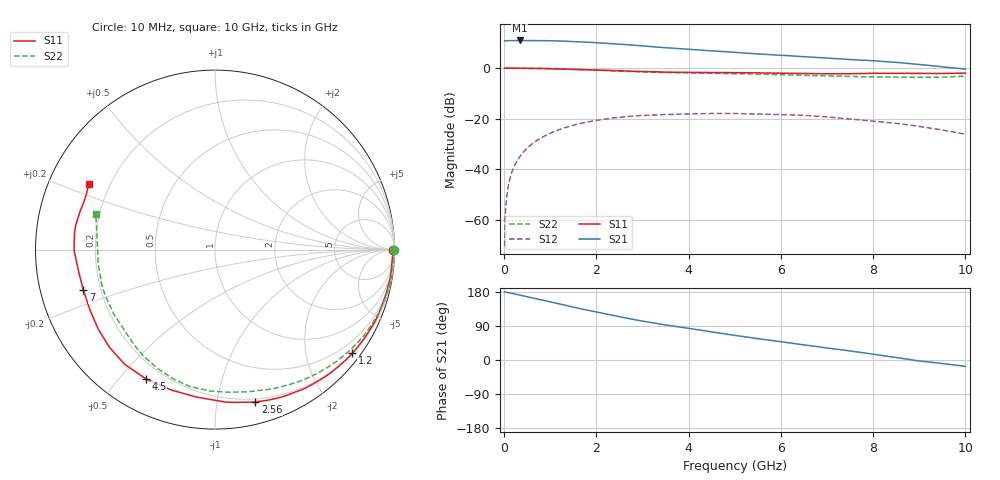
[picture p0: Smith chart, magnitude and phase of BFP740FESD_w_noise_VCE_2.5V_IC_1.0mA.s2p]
! Infineon Technologies  Discrete & RF Semiconductors
! BFP740FESD
! VCE =  2.5 V,  IC =  1.0 mA
! Common Emitter S-Parameters:  Jan 2016
# GHz  S  MA  R  50
!  f  S11  S21  S12  S22
! GHz  MAG  ANG  MAG  ANG  MAG  ANG  MAG  ANG
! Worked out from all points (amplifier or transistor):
!   233 points, 10 MHz to 10 GHz, reference 50 ohm
!   highest |S21| = 10.9 dB at 340 MHz (marker M1)
!   |S21| within 3 dB of that: start of sweep to 3.593 GHz
!   unconditionally stable (mu >= 1): 8.856 GHz to end of sweep
!   at 200 MHz: K = -0.01, MSG = 25.3 dB, |S12| = -39.7 dB
!   at 1.74 GHz: K = 0.09, MSG = 15.9 dB, |S12| = -21.6 dB
!   at 10 GHz: K = 1.66, MAG = 8.1 dB, |S12| = -26.2 dB
!   lowest NFmin = 0.46 dB at 450 MHz
!   S11 on the Smith chart (normalised r, x): 10 MHz: open; 1.2 GHz: 0.21, -2.98; 2.56 GHz: 0.17, -1.29; 4.5 GHz: 0.14, -0.59; 7 GHz: 0.13, -0.15; 10 GHz: 0.12, +0.24
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0.01  0.9934 -0.2  3.464 179.6  0.0003 52.8  0.9983 0.0
0.015  0.9922 -0.3  3.451 179.7  0.0007 82.3  0.999 -0.3
0.02  0.9911 -0.5  3.438 179.8  0.0011 90.0  0.9997 -0.5
0.03  0.9911 -0.8  3.44 179.4  0.0016 89.6  0.9997 -0.7
0.09  0.9895 -2.8  3.466 178.0  0.0047 87.1  0.9995 -2.1
0.18  0.9887 -5.5  3.488 175.6  0.0094 85.9  0.9989 -4.2
0.34  0.9872 -10.5  3.5 171.3  0.0177 82.3  0.9966 -7.9
0.7  0.9789 -21.6  3.495 161.5  0.0363 73.8  0.9866 -16.1
1.2  0.9587 -37.0  3.416 147.9  0.0609 61.6  0.9623 -27.9
1.68  0.932 -51.2  3.279 134.7  0.0809 49.7  0.9294 -39.3
2.18  0.9031 -65.0  3.087 122.0  0.0974 38.4  0.8933 -50.7
2.56  0.8775 -75.1  2.933 112.8  0.1073 30.1  0.8652 -59.2
3  0.8511 -86.2  2.736 102.6  0.1152 21.2  0.8368 -68.3
3.4  0.8301 -95.0  2.552 94.6  0.119 14.1  0.8166 -75.1
4.5  0.8167 -118.2  2.187 74.1  0.1262 -2.6  0.7881 -92.3
5.1  0.8094 -130.1  2.004 63.3  0.1253 -11.9  0.7709 -101.9
6  0.7873 -145.6  1.787 48.2  0.1205 -24.7  0.7359 -115.5
6.8  0.7678 -159.5  1.612 35.1  0.1108 -36.1  0.7034 -127.4
7  0.7675 -163.0  1.573 31.6  0.1078 -39.1  0.6969 -130.2
8.4  0.7881 173.4  1.311 8.3  0.0822 -53.5  0.6626 -157.8
9  0.7817 164.5  1.178 -2.6  0.0699 -59.6  0.6558 -173.3
10  0.7922 152.3  0.95 -16.9  0.049 -63.7  0.6928 163.5
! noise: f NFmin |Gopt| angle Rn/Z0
0.45  0.46  0.83  8  0.43
2.4  0.9  0.62  51  0.38
5.5  1.25  0.67  126  0.17
10  2.91  0.64  -148  0.23
